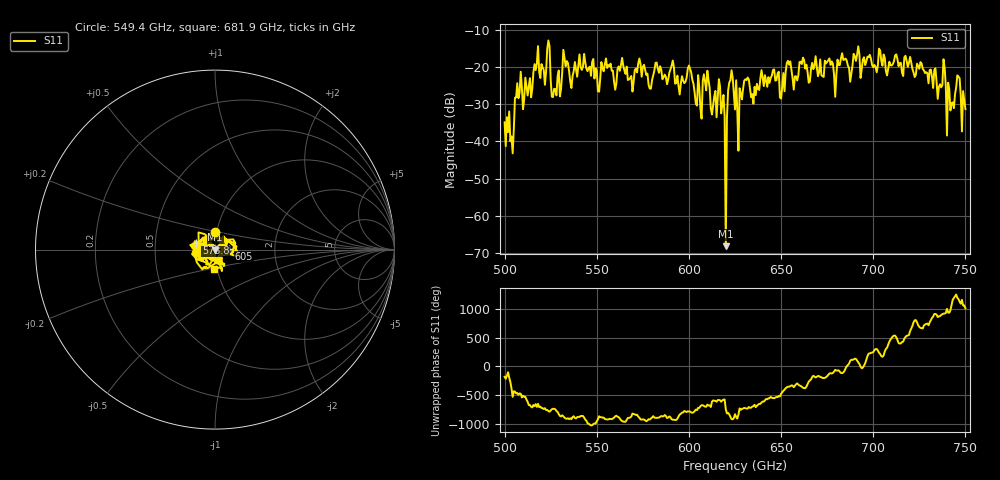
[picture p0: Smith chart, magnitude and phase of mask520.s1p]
!Created with skrf (http://scikit-rf.org).
# GHz S MA R 50.0
!freq magS11 angS11
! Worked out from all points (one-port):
!   401 points, 500 GHz to 750 GHz, reference 50 ohm
!   lowest |S11| = -68.2 dB at 620 GHz (marker M1), VSWR 1.00, Z = 50 - j0.0145 ohm
!   |S11| at or under -10 dB: start of sweep to end of sweep
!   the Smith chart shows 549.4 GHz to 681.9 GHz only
!   S11 on the Smith chart (normalised r, x): 549.4 GHz: 0.98, +0.19; 573.8 GHz: 0.81, +0.06; 605 GHz: 1.17, +0.01; 681.9 GHz: 0.97, -0.21
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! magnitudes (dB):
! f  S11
! 500 GHz  -34.9
! 503.8 GHz  -38.7
! 507.5 GHz  -28.4
! 513.8 GHz  -23.0
! 516.9 GHz  -20.8
! 523.8 GHz  -12.8
! 526.9 GHz  -25.9
! 531.2 GHz  -21.5
! 549.4 GHz  -20.3
! 562.5 GHz  -21.0
! 573.8 GHz  -19.2
! 593.8 GHz  -22.3
! 600.6 GHz  -20.4
! 605 GHz  -22.2
! 609.4 GHz  -26.3
! 612.5 GHz  -32.8
! 617.5 GHz  -32.5
! 618.8 GHz  -27.5
! 620 GHz  -68.2
! 621.2 GHz  -26.4
! 622.5 GHz  -23.5
! 625 GHz  -31.4
! 656.2 GHz  -23.0
! 681.9 GHz  -19.4
! 687.5 GHz  -23.9
! 718.8 GHz  -20.0
! 746.2 GHz  -22.6
! 750 GHz  -31.3
